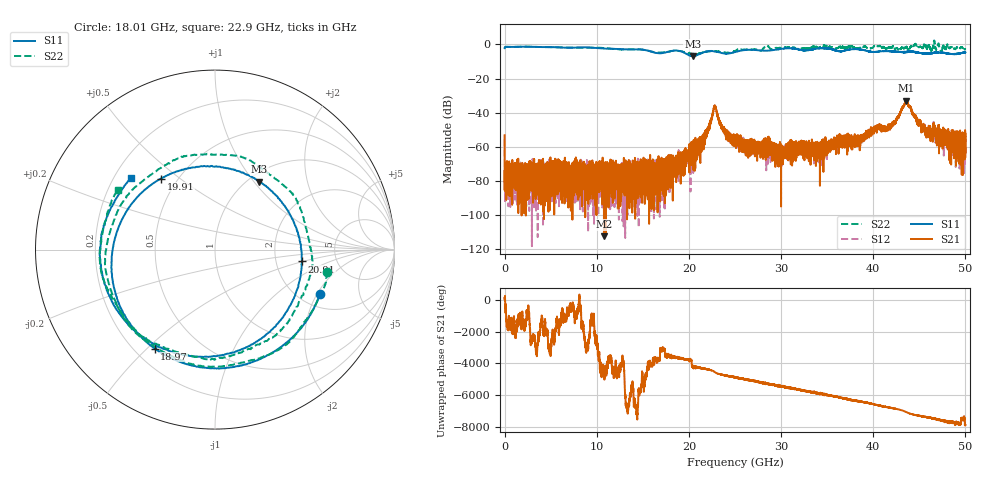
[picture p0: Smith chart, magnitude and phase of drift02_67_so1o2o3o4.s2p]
!Created with skrf (http://scikit-rf.org).
# Hz S RI R 50.0
!freq ReS11 ImS11 ReS21 ImS21 ReS12 ImS12 ReS22 ImS22
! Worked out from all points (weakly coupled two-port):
!   10001 points, 300 kHz to 50 GHz, reference 50 ohm
!   highest |S21| = -32.87 dB at 43.59 GHz (marker M1); lowest = -112.2 dB at 10.78 GHz (marker M2)
!   lowest |S11| = -6.9 dB at 20.42 GHz (marker M3), VSWR 2.65, Z = 55.9 + j53.2 ohm
!   |S11| at or under -10 dB: nowhere
!   |S22| runs from -5.7 to 2.3 dB; largest |S21 - S12| = 0.0039
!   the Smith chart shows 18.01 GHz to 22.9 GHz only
!   S11 on the Smith chart (normalised r, x): 18.01 GHz: 2.56, -2.10; 18.97 GHz: 0.28, -0.53; 19.91 GHz: 0.41, +0.43; 20.91 GHz: 2.81, -0.49; 22.9 GHz: 0.27, +0.35
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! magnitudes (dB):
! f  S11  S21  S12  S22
! 300 kHz  -2.1  -53.2  -55.4  -2.1
! 270.3 MHz  -1.4  -78.5  -76.0  -1.4
! 8.335 GHz  -1.7  -75.7  -76.7  -1.9
! 10.78 GHz  -2.4  -112.2  -88.0  -2.1
! 16.67 GHz  -5.2  -70.6  -77.7  -4.7
! 18.01 GHz  -4.0  -72.0  -75.4  -3.9
! 18.97 GHz  -3.8  -70.3  -66.9  -3.9
! 19.91 GHz  -6.1  -62.5  -63.3  -5.2
! 20.42 GHz  -6.9  -57.1  -67.0  -5.4
! 20.91 GHz  -6.2  -61.8  -61.1  -5.6
! 21.84 GHz  -4.2  -52.6  -54.3  -4.3
! 22.9 GHz  -4.2  -36.9  -36.7  -3.9
! 23.75 GHz  -5.3  -51.1  -50.0  -4.7
! 25 GHz  -4.5  -57.0  -53.4  -3.9
! 29.89 GHz  -2.7  -61.8  -66.1  -2.0
! 33.34 GHz  -3.0  -62.7  -62.6  -1.6
! 38.09 GHz  -2.7  -56.6  -58.8  -2.2
! 40.31 GHz  -4.3  -49.3  -49.0  -0.9
! 41.67 GHz  -4.0  -47.5  -47.5  -1.9
! 43.59 GHz  -4.6  -32.9  -33.4  -1.5
! 45.64 GHz  -5.4  -48.7  -49.4  0.0
! 50 GHz  -4.7  -63.2  -55.3  -2.8
